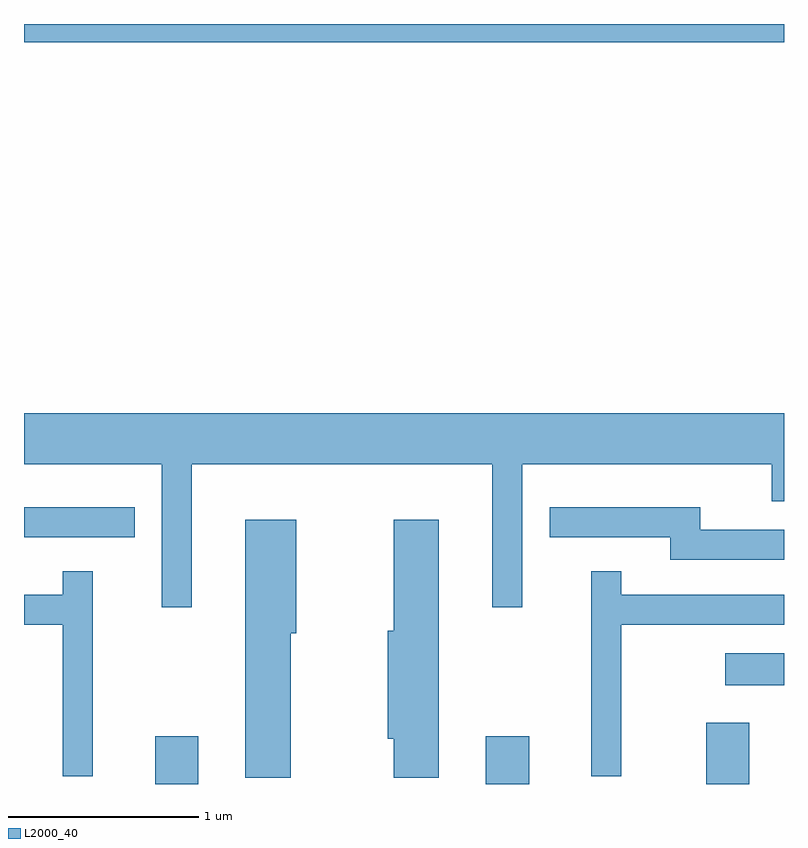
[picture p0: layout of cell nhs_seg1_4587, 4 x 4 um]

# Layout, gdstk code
import gdstk
lib = gdstk.Library(unit=1e-6, precision=1e-09)
def R(c, l, rs):  # rectangles x0, y0, x1, y1
    for r in rs: c.add(gdstk.rectangle(r[:2], r[2:], *l))
def P(c, l, *ps):  # polygons
    for p in ps: c.add(gdstk.Polygon(p, *l))
L2000_40 = (2000, 40)

nhs_seg1_4587 = lib.new_cell('nhs_seg1_4587')
R(nhs_seg1_4587, L2000_40, [(324.301,855.712,324.529,855.964), (326.041,855.712,326.269,855.964), (327.201,855.712,327.429,856.034), (327.303,856.231,327.611,856.399), (323.611,857.011,324.193,857.169), (323.611,859.616,327.611,859.712)])
P(nhs_seg1_4587, L2000_40, [(324.494,857.396),(326.076,857.396),(326.076,856.643),(326.234,856.643),(326.234,857.396),(327.546,857.396),(327.546,857.201),(327.611,857.201),(327.611,857.664),(323.611,857.664),(323.611,857.396),(324.336,857.396),(324.336,856.643),(324.494,856.643)],
  [(327.611,857.049),(327.169,857.049),(327.169,857.169),(326.378,857.169),(326.378,857.011),(327.011,857.011),(327.011,856.891),(327.611,856.891)],
  [(325.014,856.506),(325.044,856.506),(325.044,857.104),(324.776,857.104),(324.776,855.746),(325.014,855.746)],
  [(325.794,857.104),(325.556,857.104),(325.556,856.519),(325.526,856.519),(325.526,855.951),(325.556,855.951),(325.556,855.746),(325.794,855.746)],
  [(326.754,856.551),(327.611,856.551),(327.611,856.709),(326.754,856.709),(326.754,856.833),(326.596,856.833),(326.596,855.753),(326.754,855.753)],
  [(323.974,856.833),(323.816,856.833),(323.816,856.709),(323.611,856.709),(323.611,856.551),(323.816,856.551),(323.816,855.753),(323.974,855.753)])

lib.write_gds('nhs_seg1_4587.gds')
